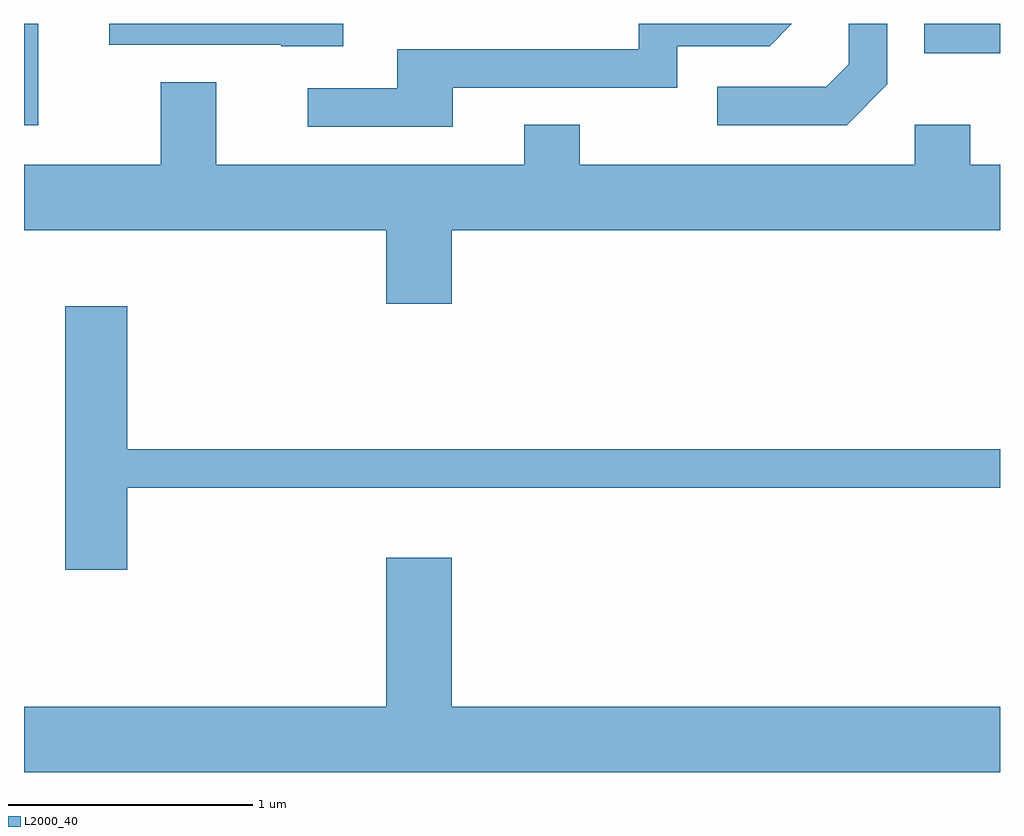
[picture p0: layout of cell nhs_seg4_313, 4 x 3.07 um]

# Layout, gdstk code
import gdstk
lib = gdstk.Library(unit=1e-6, precision=1e-09)
def R(c, l, rs):  # rectangles x0, y0, x1, y1
    for r in rs: c.add(gdstk.rectangle(r[:2], r[2:], *l))
def P(c, l, *ps):  # polygons
    for p in ps: c.add(gdstk.Polygon(p, *l))
L2000_40 = (2000, 40)

nhs_seg4_313 = lib.new_cell('nhs_seg4_313')
R(nhs_seg4_313, L2000_40, [(193.611,1339.566,193.669,1339.982), (197.301,1339.861,197.611,1339.982)])
P(nhs_seg4_313, L2000_40, [(195.369,1339.721),(196.289,1339.721),(196.289,1339.891),(196.667,1339.891),(196.757,1339.982),(196.131,1339.982),(196.131,1339.879),(195.141,1339.879),(195.141,1339.719),(194.773,1339.719),(194.773,1339.561),(195.369,1339.561)],
  [(197.149,1339.734),(197.149,1339.982),(196.991,1339.982),(196.991,1339.817),(196.899,1339.724),(196.453,1339.724),(196.453,1339.566),(196.982,1339.566)],
  [(194.919,1339.982),(193.961,1339.982),(193.961,1339.896),(194.665,1339.896),(194.665,1339.891),(194.919,1339.891)],
  [(195.364,1339.136),(197.611,1339.136),(197.611,1339.404),(197.489,1339.404),(197.489,1339.569),(197.261,1339.569),(197.261,1339.404),(195.889,1339.404),(195.889,1339.569),(195.661,1339.569),(195.661,1339.404),(194.399,1339.404),(194.399,1339.744),(194.171,1339.744),(194.171,1339.404),(193.611,1339.404),(193.611,1339.136),(195.096,1339.136),(195.096,1338.836),(195.364,1338.836)],
  [(194.034,1338.081),(197.611,1338.081),(197.611,1338.239),(194.034,1338.239),(194.034,1338.824),(193.781,1338.824),(193.781,1337.746),(194.034,1337.746)],
  [(197.611,1337.184),(195.364,1337.184),(195.364,1337.794),(195.096,1337.794),(195.096,1337.184),(193.611,1337.184),(193.611,1336.916),(197.611,1336.916)])

lib.write_gds('nhs_seg4_313.gds')
